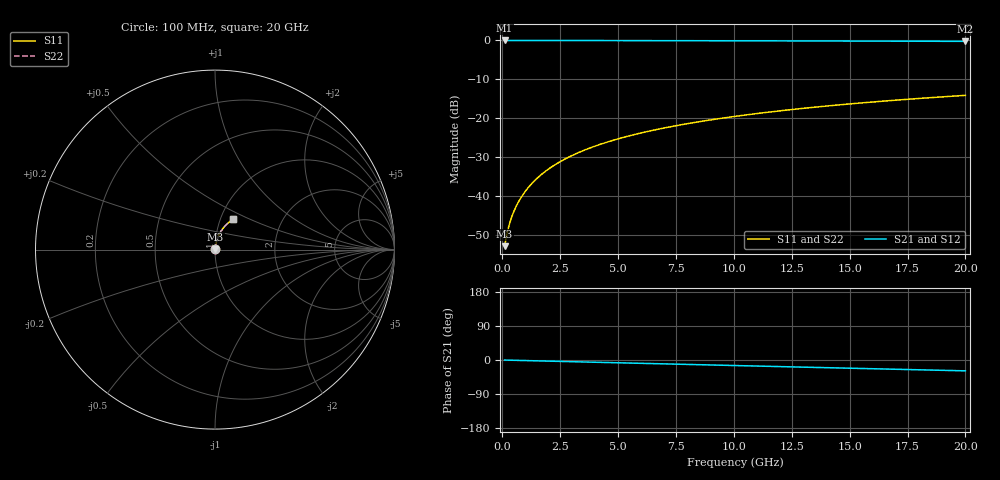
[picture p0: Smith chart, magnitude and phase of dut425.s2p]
! Touchstone file exported from HFSS 2026.1.0
!  File:  C:/ffzhzh/LocalFiles/Ansys_Project_Files/temp_train_BSMRDL_425_1783012804_55676.aedt
!  Generated:  01:21:25 AM Jul  3, 2026
!  Design:  BSMRDL
!  Project:  temp_train_BSMRDL_425_1783012804_55676
! Variables:
!  h_bsmrdl = 3.37um
!  h_ox = 20um
!  h_rdl = 5um
!  h_sub = 80um
!  h_tmrdl = 5um
!  h_tsv = 80um
!  h_via = 3um
!  l_bsmrdl = 436.26um
!  l_sub = 836.26um
!  l_tmrdl = 200um
!  m_sub = 200um
!  pitch = 46.41um
!  r_tsv = 6um
!  s_tmrdl = 10um
!  w_bsmrdl = 29.73um
!  w_sub = 500um
!  w_tmrdl = 12um
!  x_tsv_center1 = 206um
!  x_tsv_center2 = 671.99um
!  x_tsv_center3 = 883.99um
!  x_tsv_center4 = 1349.98um
!  x_tsv_center5 = 1561.98um
!  x_tsv_center6 = 2027.97um
# GHz S MA R 50.000000
! Terminal data exported
! Port[1] = BSM_RDL1_1_T1
! Port[2] = BSM_RDL1_1_T2
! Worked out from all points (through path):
!   200 points, 100 MHz to 20 GHz, reference 50 ohm
!   highest |S21| = -0.02 dB at 100 MHz (marker M1); lowest = -0.2 dB at 20 GHz (marker M2)
!   group delay of S21, straight-line fit = 3.97 ps
!   lowest |S11| = -52.9 dB at 100 MHz (marker M3), VSWR 1.00, Z = 50.2 + j0.133 ohm
!   |S11| at or under -10 dB: start of sweep to end of sweep
!   |S22| runs from -52.9 to -14.1 dB; largest |S21 - S12| = 3.6e-15
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0.1  0.00226 35.8  0.9982 -0.2  0.9982 -0.2  0.00226 35.8
! Gamma 0 0 0 0
! Port Impedance 50 0 50 0
0.2  0.003241 52.0  0.998 -0.3  0.998 -0.3  0.003241 52.0
0.3  0.004282 59.6  0.9979 -0.5  0.9979 -0.5  0.004282 59.6
0.4  0.00531 64.2  0.9977 -0.6  0.9977 -0.6  0.00531 64.2
0.5  0.006331 67.4  0.9976 -0.8  0.9976 -0.8  0.006331 67.4
0.6  0.007353 69.9  0.9976 -0.9  0.9976 -0.9  0.007353 69.9
0.8  0.00942 73.3  0.9975 -1.2  0.9975 -1.2  0.00942 73.3
1.1  0.01257 76.4  0.9973 -1.6  0.9973 -1.6  0.01257 76.4
1.3  0.0147 77.7  0.9973 -1.9  0.9973 -1.9  0.0147 77.7
1.6  0.01791 78.9  0.9971 -2.4  0.9971 -2.4  0.01791 78.9
2.1  0.02329 79.9  0.9969 -3.1  0.9969 -3.1  0.02329 79.9
2.7  0.02974 80.2  0.9966 -4.0  0.9966 -4.0  0.02974 80.2
3.5  0.03832 79.9  0.996 -5.2  0.996 -5.2  0.03832 79.9
4.2  0.04577 79.3  0.9954 -6.2  0.9954 -6.2  0.04577 79.4
5  0.0542 78.5  0.9947 -7.4  0.9947 -7.4  0.0542 78.5
5.9  0.06359 77.5  0.9937 -8.7  0.9937 -8.7  0.06359 77.5
6.8  0.07287 76.4  0.9927 -10.0  0.9927 -10.0  0.07286 76.4
8.3  0.08808 74.4  0.9909 -12.2  0.9909 -12.2  0.08807 74.4
10.1  0.1059 72.1  0.9885 -14.7  0.9885 -14.7  0.1059 72.1
13.4  0.1376 67.7  0.9836 -19.4  0.9836 -19.4  0.1376 67.7
16.7  0.1678 63.3  0.9781 -24.1  0.9781 -24.1  0.1678 63.3
20  0.1965 58.9  0.9722 -28.6  0.9722 -28.6  0.1965 59.0
